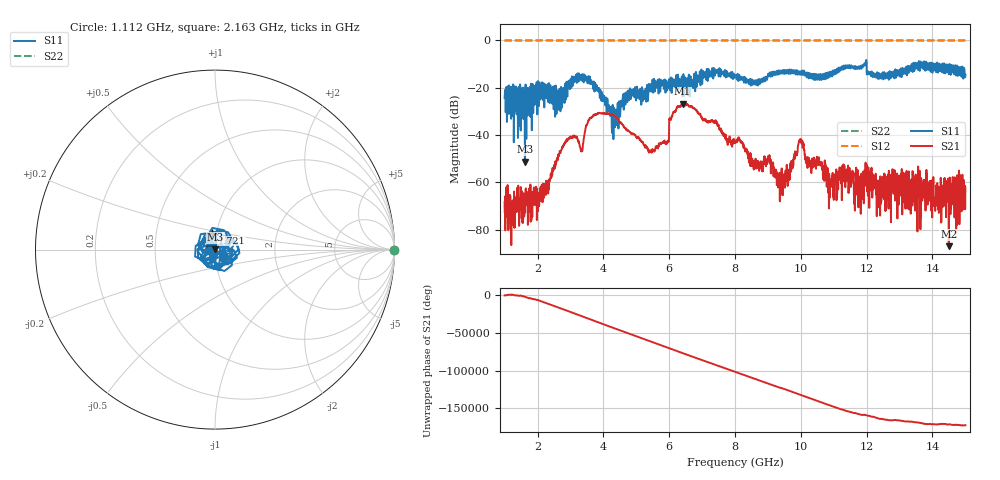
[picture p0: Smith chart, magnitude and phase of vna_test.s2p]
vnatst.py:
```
# In[0]:pkgs

import sys
import time
import numpy as np

sys.path.append('Z:/Mingi Kim/python_codes/Experiment/test_insttype')
import VNA as vna 

# In[]

va = vna.MS2038()

# In[]

va.idn()

# In[]

va.start(12e9)

# In[]

va.sweep("single")

# In[]

va.points("3333")

# In[]
va.IFBW(2000)
va.points(2000)
time.sleep(1)

va.sweep("single")

# In[]

va.save_s2p('Z:/Mingi Kim/python_codes/Experiment/test_insttype/vna_test.s2p')
```
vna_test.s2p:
! Anritsu VNA Master:  Model: MS2038C/15
! SN:  1304022
! /card0/usr/tempdata.s2p
! Existing Calibration Information:
! TYPE:  Current Settings,  Active Cal Settings
! TIME:  06/24/2023 01:53:31 PM,  06/16/2023 11:33:35 AM
! INTERNAL TEMP:  42.3 C,  54.5 C
! # POINTS:  2000,  4001
! START FREQ:  1.000 GHz,  5.000 kHz
! STOP FREQ:  15.000 GHz,  20.000 GHz
! SOURCE POWER:  Low,  Low
! IFBW:  2 kHz,  2 kHz
! AVG FACTOR:  1 ,  1
! REF PLANE 1:  0 mm,  0 mm
! REF PLANE 2:  0 mm,  0 mm
! CAL TYPE:  Response S21 & S12,  Response S21 & S12
! CAL METHOD:  SOLT,  SOLT
! CAL LINE TYPE:  Coax,  Coax
! DUT PORT 1:  N-Conn(M),  N-Conn(M)
! DUT PORT 2:  N-Conn(M),  N-Conn(M)
! CAL STATUS:  OFF,  --
# GHZ S DB R 50.0
! FREQ.GHZ  S11DB  S11A  S21DB  S21A  S12DB  S12A  S22DB  S22A
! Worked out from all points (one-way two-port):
!   2000 points, 1 GHz to 15 GHz, reference 50 ohm
!   highest |S21| = -26.74 dB at 6.407 GHz (marker M1); lowest = -87.0 dB at 14.5 GHz (marker M2)
!   lowest |S11| = -51.4 dB at 1.616 GHz (marker M3), VSWR 1.01, Z = 50.2 + j0.166 ohm
!   |S11| at or under -10 dB: start of sweep to 11.92 GHz; 12 GHz to 13.37 GHz (1.37 GHz wide, 10.8 % of centre); 14.52 GHz to end of sweep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
!   |S22| runs from 0.0 to 0.0 dB; largest |S21 - S12| = 1
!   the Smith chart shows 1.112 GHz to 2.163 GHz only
!   S11 on the Smith chart (normalised r, x): 1.112 GHz: 0.98, -0.05; 1.721 GHz: 0.95, +0.18; 2.163 GHz: 1.09, -0.07
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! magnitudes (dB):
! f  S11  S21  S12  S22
! 1 GHz  -24.4  -68.3  0.0  0.0
! 1.112 GHz  -31.0  -80.3  0.0  0.0
! 1.616 GHz  -51.4  -64.9  0.0  0.0
! 1.721 GHz  -20.3  -63.9  0.0  0.0
! 2.163 GHz  -25.0  -60.7  0.0  0.0
! 3.724 GHz  -20.4  -31.6  0.0  0.0
! 5.454 GHz  -19.2  -47.1  0.0  0.0
! 6.407 GHz  -23.7  -26.7  0.0  0.0
! 8.004 GHz  -15.4  -42.6  0.0  0.0
! 14.5 GHz  -14.3  -87.0  0.0  0.0
! 15 GHz  -14.5  -62.2  0.0  0.0
